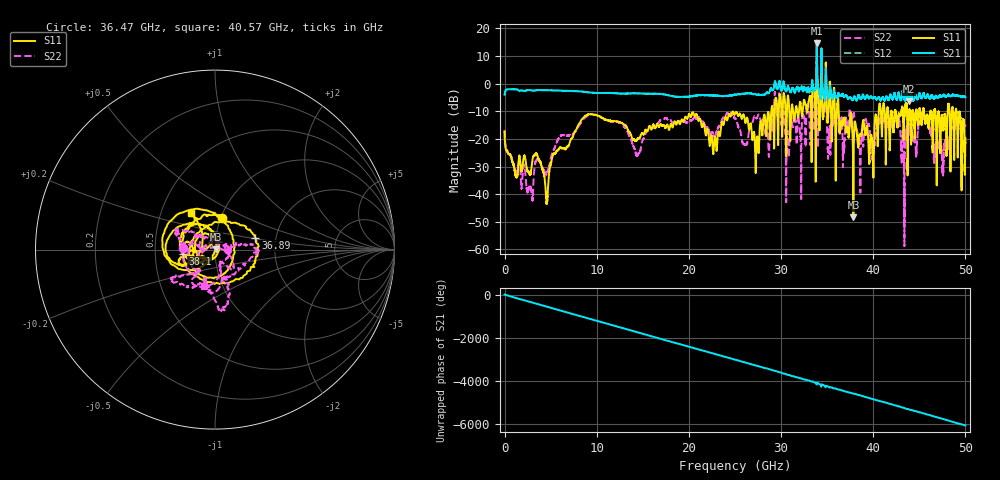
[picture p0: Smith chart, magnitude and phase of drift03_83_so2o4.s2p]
!Created with skrf (http://scikit-rf.org).
# Hz S RI R 50.0
!freq ReS11 ImS11 ReS21 ImS21 ReS12 ImS12 ReS22 ImS22
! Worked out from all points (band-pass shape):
!   10001 points, 300 kHz to 50 GHz, reference 50 ohm
!   highest |S21| = 14.69 dB at 33.88 GHz (marker M1); lowest = -6.4 dB at 43.9 GHz (marker M2)
!   |S21| within 3 dB of the highest: 33.86915 GHz to 33.88776 GHz (18.61 MHz wide, 0.0549 % of centre); 34.37753 GHz to 34.38785 GHz (10.32 MHz wide, 0.03 % of centre)
!   lowest |S11| = -48.4 dB at 37.85 GHz (marker M3), VSWR 1.01, Z = 50.3 + j0.197 ohm
!   |S11| at or under -10 dB: start of sweep to 28.94 GHz; 36.26 GHz to 40.6 GHz (4.334 GHz wide, 11.3 % of centre); 46.73 GHz to 48.08 GHz (1.344 GHz wide, 2.83 % of centre) (the widest 3 of 66)
!   |S22| runs from -58.8 to 11.6 dB; largest |S21 - S12| = 0.8
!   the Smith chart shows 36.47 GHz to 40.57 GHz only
!   S11 on the Smith chart (normalised r, x): 36.47 GHz: 1.01, +0.36; 36.89 GHz: 1.56, +0.22; 38.1 GHz: 0.69, -0.03; 40.57 GHz: 0.71, +0.30
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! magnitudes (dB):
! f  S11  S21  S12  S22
! 300 kHz  -17.2  -4.0  -4.0  -17.0
! 2.82 GHz  -32.7  -2.4  -2.4  -37.6
! 4.555 GHz  -43.4  -2.3  -2.3  -32.4
! 8.335 GHz  -13.1  -2.8  -2.8  -13.9
! 14.45 GHz  -19.9  -3.5  -3.5  -25.7
! 16.67 GHz  -15.4  -3.7  -3.7  -14.3
! 22.82 GHz  -19.2  -4.3  -4.3  -19.1
! 25 GHz  -10.9  -4.0  -4.0  -12.5
! 27.39 GHz  -19.4  -4.1  -4.0  -12.3
! 29.6 GHz  -10.4  -2.0  -2.1  -11.6
! 30.7 GHz  -5.5  -1.3  -1.4  -17.1
! 33.34 GHz  -14.0  -0.4  -0.4  -6.9
! 33.88 GHz  15.6  14.7  14.3  11.2
! 36.47 GHz  -15.0  -4.4  -4.3  -15.1
! 36.89 GHz  -12.6  -4.6  -4.6  -20.1
! 37.85 GHz  -48.4  -5.4  -5.4  -11.0
! 38.1 GHz  -14.8  -5.7  -5.6  -16.3
! 40.57 GHz  -12.3  -4.9  -4.9  -13.5
! 41.67 GHz  -12.1  -5.9  -5.9  -14.9
! 43.9 GHz  -9.4  -6.4  -6.3  -17.2
! 47.58 GHz  -15.5  -4.3  -4.2  -29.5
! 50 GHz  -19.6  -4.9  -4.9  -15.0
